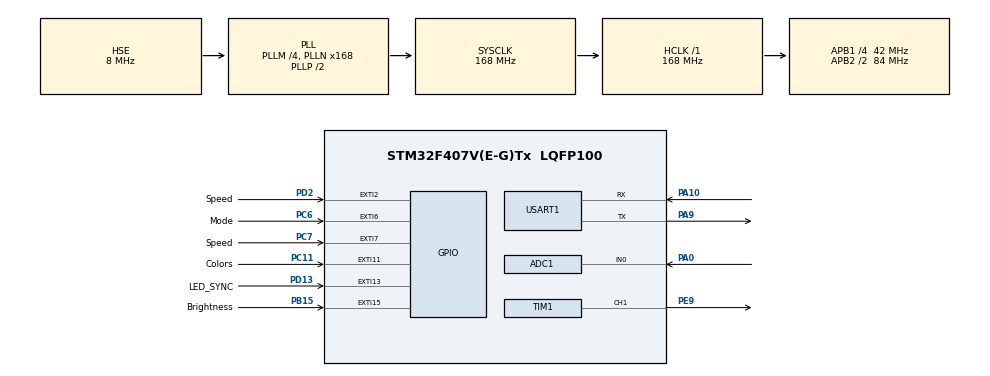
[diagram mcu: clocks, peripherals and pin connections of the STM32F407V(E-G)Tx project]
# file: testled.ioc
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ADC1.Channel-0\#ChannelRegularConversion=ADC_CHANNEL_0
ADC1.ClockPrescaler=ADC_CLOCK_SYNC_PCLK_DIV8
ADC1.ContinuousConvMode=ENABLE
ADC1.DMAContinuousRequests=ENABLE
ADC1.EOCSelection=ADC_EOC_SEQ_CONV
ADC1.InjNumberOfConversion=0
ADC1.NbrOfConversionFlag=1
ADC1.Rank-0\#ChannelRegularConversion=1
ADC1.SamplingTime-0\#ChannelRegularConversion=ADC_SAMPLETIME_480CYCLES
ADC1.master=1
Dma.ADC1.1.Direction=DMA_PERIPH_TO_MEMORY
Dma.ADC1.1.FIFOMode=DMA_FIFOMODE_DISABLE
Dma.ADC1.1.Instance=DMA2_Stream0
Dma.ADC1.1.MemDataAlignment=DMA_MDATAALIGN_HALFWORD
Dma.ADC1.1.MemInc=DMA_MINC_ENABLE
Dma.ADC1.1.Mode=DMA_CIRCULAR
Dma.ADC1.1.PeriphDataAlignment=DMA_PDATAALIGN_HALFWORD
Dma.ADC1.1.PeriphInc=DMA_PINC_DISABLE
Dma.ADC1.1.Priority=DMA_PRIORITY_LOW
Dma.Request0=TIM1_CH1
Dma.Request1=ADC1
Dma.TIM1_CH1.0.Direction=DMA_MEMORY_TO_PERIPH
Dma.TIM1_CH1.0.FIFOMode=DMA_FIFOMODE_DISABLE
Dma.TIM1_CH1.0.Instance=DMA2_Stream1
Dma.TIM1_CH1.0.MemDataAlignment=DMA_MDATAALIGN_HALFWORD
Dma.TIM1_CH1.0.MemInc=DMA_MINC_ENABLE
Dma.TIM1_CH1.0.Mode=DMA_NORMAL
Dma.TIM1_CH1.0.PeriphDataAlignment=DMA_PDATAALIGN_HALFWORD
Dma.TIM1_CH1.0.PeriphInc=DMA_PINC_DISABLE
Dma.TIM1_CH1.0.Priority=DMA_PRIORITY_LOW
Mcu.Family=STM32F4
Mcu.Name=STM32F407V(E-G)Tx
Mcu.Package=LQFP100
NVIC.ADC_IRQn=true\:2\:0\:true\:false\:true\:true\:true\:true
NVIC.DMA2_Stream0_IRQn=true\:2\:0\:true\:false\:true\:false\:true\:true
NVIC.DMA2_Stream1_IRQn=true\:2\:0\:true\:false\:true\:false\:true\:true
NVIC.EXTI15_10_IRQn=true\:0\:0\:true\:false\:true\:true\:true\:true
NVIC.EXTI2_IRQn=true\:0\:0\:false\:false\:true\:true\:true\:true
NVIC.EXTI9_5_IRQn=true\:0\:0\:true\:false\:true\:true\:true\:true
NVIC.PVD_IRQn=true\:0\:0\:false\:false\:true\:true\:true\:true
NVIC.PriorityGroup=NVIC_PRIORITYGROUP_4
PA0-WKUP.Signal=ADCx_IN0
PA10.Mode=Asynchronous
PA10.Signal=USART1_RX
PA9.Mode=Asynchronous
PA9.Signal=USART1_TX
PB15.GPIO_Label=Brightness
PB15.GPIO_ModeDefaultEXTI=GPIO_MODE_IT_RISING
PB15.GPIO_PuPd=GPIO_PULLDOWN
PB15.Signal=GPXTI15
PC11.GPIO_Label=Colors
PC11.GPIO_ModeDefaultEXTI=GPIO_MODE_IT_RISING
PC11.GPIO_PuPd=GPIO_PULLDOWN
PC11.Signal=GPXTI11
PC6.GPIO_Label=Mode
PC6.GPIO_ModeDefaultEXTI=GPIO_MODE_IT_RISING
PC6.GPIO_PuPd=GPIO_PULLDOWN
PC6.Signal=GPXTI6
PC7.GPIO_Label=Speed
PC7.GPIO_ModeDefaultEXTI=GPIO_MODE_IT_RISING
PC7.GPIO_PuPd=GPIO_PULLDOWN
PC7.Signal=GPXTI7
PD13.GPIO_Label=LED_SYNC
PD13.GPIO_ModeDefaultEXTI=GPIO_MODE_IT_RISING
PD13.GPIO_PuPd=GPIO_PULLDOWN
PD13.Signal=GPXTI13
PD2.GPIO_Label=Speed
PD2.GPIO_PuPd=GPIO_PULLDOWN
PD2.Signal=GPXTI2
PE9.Signal=S_TIM1_CH1
PH0-OSC_IN.Mode=HSE-External-Oscillator
PH0-OSC_IN.Signal=RCC_OSC_IN
PH1-OSC_OUT.Mode=HSE-External-Oscillator
PH1-OSC_OUT.Signal=RCC_OSC_OUT
ProjectManager.HeapSize=0x200
ProjectManager.StackSize=0x400
ProjectManager.TargetToolchain=STM32CubeIDE
RCC.48MHZClocksFreq_Value=84000000
RCC.AHBFreq_Value=168000000
RCC.APB1CLKDivider=RCC_HCLK_DIV4
RCC.APB1Freq_Value=42000000
RCC.APB1TimFreq_Value=84000000
RCC.APB2CLKDivider=RCC_HCLK_DIV2
RCC.APB2Freq_Value=84000000
RCC.APB2TimFreq_Value=168000000
RCC.CortexFreq_Value=168000000
RCC.HCLKFreq_Value=168000000
RCC.HSE_VALUE=8000000
RCC.HSI_VALUE=16000000
RCC.LSE_VALUE=32768
RCC.PLLM=4
RCC.PLLN=168
RCC.PLLSourceVirtual=RCC_PLLSOURCE_HSE
RCC.SYSCLKFreq_VALUE=168000000
RCC.SYSCLKSource=RCC_SYSCLKSOURCE_PLLCLK
RCC.VCOOutputFreq_Value=336000000
SH.ADCx_IN0.0=ADC1_IN0,IN0
SH.S_TIM1_CH1.0=TIM1_CH1,PWM Generation1 CH1
TIM1.AutoReloadPreload=TIM_AUTORELOAD_PRELOAD_DISABLE
TIM1.Channel-PWM\ Generation1\ CH1=TIM_CHANNEL_1
TIM1.Period=209
USART1.VirtualMode=VM_ASYNC
VP_TIM1_VS_ClockSourceINT.Mode=Internal
board=custom

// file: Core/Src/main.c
/* USER CODE BEGIN Header */
/**
  ******************************************************************************
  * @file           : main.c
  * @brief          : Main program body
  ******************************************************************************
  * @attention
  *
  * Copyright (c) 2025 STMicroelectronics.
  * All rights reserved.
  *
  * This software is licensed under terms that can be found in the LICENSE file
  * in the root directory of this software component.
  * If no LICENSE file comes with this software, it is provided AS-IS.
  *
  ******************************************************************************
  */
/* USER CODE END Header */
#include "main.h"

/* USER CODE BEGIN Includes */
#include <stdbool.h>
#include <stdio.h>
#include "string.h"
#include "math.h"
#include <stdlib.h>
#include <time.h>
/* USER CODE END Includes */

/* USER CODE BEGIN PTD */
typedef struct{
    double real;
    double imag;
} complex;
/* USER CODE END PTD */

/* USER CODE BEGIN PD */
const double PI  = 3.14159265358979323846;
#define MAX_LED 149
#define USE_BRIGHTNESS 1
#define MAX_BRIGHTNESS 40
#define MAX_SPEED 1000
#define ADC_BUFFER_SIZE 2048
#define LED_SYNC_MUSIC 0
#define MODE1 1
#define MODE2 2
#define MODE3 3
#define MODE4 4
#define MODE5 5
#define MODE6 6
#define MODE7 7
#define MODE8 8
#define MODE9 9
#define MODE10 10
#define MODE11 11
#define Point_A 0
#define Point_B 4
#define Point_C 19
#define Point_D 34
#define Point_E 54
#define Point_F 74
#define Point_G 75
#define Point_H 94
#define Point_I 114
#define Point_J 129
#define Point_K 144
#define Point_L 149
/* USER CODE END PD */

ADC_HandleTypeDef hadc1;
DMA_HandleTypeDef hdma_adc1;

TIM_HandleTypeDef htim1;
DMA_HandleTypeDef hdma_tim1_ch1;

UART_HandleTypeDef huart1;

/* USER CODE BEGIN PV */

uint8_t pushed_button = 0;

bool datasentflag = 0;
int low_index = 0;
int mid_index = 0;
int high_index = 0;
int low_count = 0;
int mid_count = 0;
int high_count = 0;

//default values
int current_mode = 1;
int brightness = MAX_BRIGHTNESS;
int speed = 0;
int current_color = 1;
int color_duration = 0;

uint16_t adc_val[ADC_BUFFER_SIZE]; // Cuong do am thanh
complex x[ADC_BUFFER_SIZE];			// Bien doi so phuc

int avg = 0;	// Cuong do am thanh trung binh
int effecet_count = 0;
char msg[100] = "Hello World";
uint32_t last_it = 0;	// Lan cuoi interrupt GPIO
uint16_t peak = 0;		// Cuong do am thanh cao nhat
uint8_t rst_red = 0;	// Mau reset do
uint8_t rst_green = 0;	// Mau reset xanh luc
uint8_t rst_blue = 0;	// Mau reset xanh duong
uint8_t color_ranges[MAX_LED+1][3]; //Quy dinh dai mau cho LED
uint8_t Rainbow_LED[MAX_LED+1][3]; // Quy dinh dai mau cau vong
uint8_t LED_RGB[MAX_LED+1][3];	// Quy dinh LED nao bat LED nao tat
uint8_t LED_Data[MAX_LED+1][3];	// Quy dinh do sang cho LED
uint16_t pwmData[(24*MAX_LED)+100]; //Du lieu truyen di
/* USER CODE END PV */

void SystemClock_Config(void);
static void MX_GPIO_Init(void);
static void MX_DMA_Init(void);
static void MX_TIM1_Init(void);
static void MX_ADC1_Init(void);
static void MX_USART1_UART_Init(void);
/* USER CODE BEGIN PFP */

void Set_Brightness(int brightness);

/* USER CODE END PFP */

/* USER CODE BEGIN 0 */
complex make_complex(double real, double imag) {
    complex c;
    c.real = real;
    c.imag = imag;
    return c;
}
complex add_complex(complex a, complex b) {
    return make_complex(a.real + b.real, a.imag + b.imag);
}
complex sub_complex(complex a, complex b) {
    return make_complex(a.real - b.real, a.imag - b.imag);
}
complex mul_complex(complex a, complex b) {
    return make_complex(
        a.real * b.real - a.imag * b.imag,
        a.real * b.imag + a.imag * b.real
    );
}
complex twiddle_factor(int k, int N) {
    double angle = -2.0 * M_PI * k / N;
    return make_complex(cos(angle), sin(angle));
}
void fft(complex* x,int  n){
    if(n <= 1) return;

    complex even[n/2];
    complex odd[n/2];
    for(int i = 0 ; i < n/2 ; i++){
        even[i] = x[i*2];
        odd[i] = x[i*2 + 1];
    }

    fft(even,n/2);
    fft(odd,n/2);

    for (int k = 0; k < n/2; k++) {
        complex w = twiddle_factor(k, n);
        complex t = mul_complex(w, odd[k]);
        x[k] = add_complex(even[k],t);
        x[k + n/2] = sub_complex(even[k], t);
    }
}
void inttocomplex(complex* x,int n){
    for(int i = 0 ; i < ADC_BUFFER_SIZE ; i++){
        x[i] = make_complex(adc_val[i], 0);
    }
}

void Set_Colors_Ranges(uint8_t r,uint8_t g,uint8_t b,int start, int end,bool rainbow){
	for(int  i = start ; i <= end ; i++){
		if(rainbow == 0){
			color_ranges[i][0] = r;
			color_ranges[i][1] = g;
			color_ranges[i][2] = b;
		}
		else{
			color_ranges[i][0] = Rainbow_LED[i][0];
			color_ranges[i][1] = Rainbow_LED[i][1];
			color_ranges[i][2] = Rainbow_LED[i][2];
		}
	}
}
void Set_Colors_Ranges_Gradient(uint8_t r_st,uint8_t g_st,uint8_t b_st,uint8_t r_en,uint8_t g_en,uint8_t b_en,int start, int end){
	int t;
	for(int i = start ; i <= end; i++){
		t = (r_en - r_st)*(i - start)/(end-start);
		color_ranges[i][0] = r_st + t;

		t = (g_en - g_st)*(i - start)/(end-start);
		color_ranges[i][1] = g_st + t;

		t = (b_en - b_st)*(i - start)/(end-start);
		color_ranges[i][2] = b_st + t;
	}
}
void Set_LED (int LEDnum)
{
	LED_RGB[LEDnum][0] = color_ranges[LEDnum][1];
	LED_RGB[LEDnum][1] = color_ranges[LEDnum][0];
	LED_RGB[LEDnum][2] = color_ranges[LEDnum][2];
}
void Set_All_LED(){
	for(int i = 0 ; i < MAX_LED ; i++){
		Set_LED(i);
	}
}

void SetLEDStartToEnd(int start, int end){
	if(end > MAX_LED) end = MAX_LED;
	if(start < 0) start = 0;
	for(int i = start ; i <= end ; i++){
		Set_LED(i);
	}
}
void SetLEDEndToStart(int start, int end){
	if(end > MAX_LED) end = MAX_LED-1;
	if(start < 0) start = 0;
	for(int i = start ; i >= end ; i--){
		Set_LED(i);
	}
}

void RESET_LED(int LEDnum){
	LED_RGB[LEDnum][0] = rst_green;
	LED_RGB[LEDnum][1] = rst_red;
	LED_RGB[LEDnum][2] = rst_blue;
}
void RESET_LED_START_TO_END(int start, int end){
	if(end > MAX_LED) end = MAX_LED;
	if(start < 0) start = 0;
	for(int i = start ; i <= end ; i++){
		RESET_LED(i);
	}
}
void RESET_LED_END_TO_START(int start, int end){
	if(end > MAX_LED) end = MAX_LED;
	if(start < 0) start = 0;
	for(int i = start ; i >= end ; i--){
		RESET_LED(i);
	}
}
void RESET_ALL_LED(){
	for(int i = 0 ; i <= MAX_LED ; i++){
		RESET_LED(i);
	}
}
void Init_Raibow_LED(){
	int r = 255;
	int g = 1;
	int b = 1;
	int gchange = 0;
	int inc = 0;
	for(int i = 0 ; i <= MAX_LED ; i++){
		if(g < 255 && gchange == 0){
			g = g + inc;
		}
		else if(r > 1){
			r = r - inc;
			gchange = 1;
		}
		else if(b < 255){
			b = b + inc;
		}
		else if(g>1 && gchange == 1){
			g = g - inc;
		}
		else{
			r = 255;
			g = 1;
			b = 1;
			inc = -4;
			gchange = 0;
		}
		Rainbow_LED[i][0] = r;
		Rainbow_LED[i][1] = g;
		Rainbow_LED[i][2] = b;
		inc += 4;
	}
}

void Set_Brightness(int brightness)  // 0-40
{
	if (brightness > MAX_BRIGHTNESS) brightness = MAX_BRIGHTNESS;
	for (int i=0; i<=MAX_LED; i++)
	{
		LED_Data[i][0] = LED_RGB[i][0];
		for (int j=0; j<3; j++)
		{
			LED_Data[i][j] = (LED_RGB[i][j]*brightness)/255;
		}
	}

}

void WS2812_Send (void)
{
	uint32_t indx=0;
	uint32_t color;
	for (int i = 0; i<=MAX_LED; i++)
	{
		color = ((LED_Data[i][0]<<16) | (LED_Data[i][1]<<8) | (LED_Data[i][2]));

		for (int bit=23; bit>=0; bit--)
		{
			if (color&(1<<bit))
			{
				pwmData[indx] = 140;  // 2/3 of 210
			}
			else pwmData[indx] = 70;  // 1/3 of 210

			indx++;
		}

	}

	for (int i = 0; i<50; i++)
	{
		pwmData[indx] = 0;
		indx++;
	}

	HAL_TIM_PWM_Start_DMA(&htim1, TIM_CHANNEL_1, (uint32_t *)pwmData, indx);
	while (!datasentflag){};
	datasentflag = 0;
}

void HAL_TIM_PWM_PulseFinishedCallback(TIM_HandleTypeDef *htim)
{
	HAL_TIM_PWM_Stop_DMA(&htim1, TIM_CHANNEL_1);
	datasentflag=1;
}

void Fade_in(int brightness, int delay){
	for (int i=0; i<=brightness; i++)
	{
		SetLEDStartToEnd(0, MAX_LED);
		Set_Brightness(i);
		WS2812_Send();
		HAL_Delay(delay);
	}
}
void Fade_out(int brightness, int delay){
	for (int i=0; i<=brightness; i++)
	{
		SetLEDStartToEnd(0, MAX_LED);
		Set_Brightness(brightness - i);
		WS2812_Send();
		HAL_Delay(delay);
	}
}
void colors1(){
	Set_Colors_Ranges_Gradient(0, 0, 255, 255, 0, 255, 0, MAX_LED);
}
void colors2(){
	Set_Colors_Ranges(255, 144, 0, 0, 34, 0);
	Set_Colors_Ranges(255, 0, 0, 35, 113, 0);
	Set_Colors_Ranges(0, 144, 255, 114, MAX_LED, 0);
}
void colors3(){
	Set_Colors_Ranges_Gradient(0, 0, 255, 255, 0, 0, 0,MAX_LED/2);
	Set_Colors_Ranges_Gradient(255, 0, 0, 255, 255, 0, MAX_LED/2+1,MAX_LED);
	Set_Colors_Ranges(0, 255, 0, 35, 113, 1);
}
void colors4(){
	Set_Colors_Ranges(0, 0, 0, 0, MAX_LED, 1);
}
void colors5(){
	Set_Colors_Ranges_Gradient(0, 255, 0, 0, 0, 255, 0, MAX_LED);
}
void mode1(int brightness,int duration){
	int delay = duration/brightness-7;
	Fade_out(brightness, delay);
	RESET_ALL_LED();
}
void mode2(int brightness,int duration){

	int delay = duration/10-6;
	for(int i = 0 ; i < 10 ; i ++){
		if(i%2 == 0){
			Set_All_LED();
		}
		else{
			RESET_ALL_LED();
		}
		Set_Brightness(brightness);
		WS2812_Send();
		HAL_Delay(delay);
	}
	Set_All_LED();
	Set_Brightness(brightness);
	WS2812_Send();
}
void mode3(int brightness,int duration){

	int delay = duration/41-6;
	for(int i = 0 ; i <= 40 ; i+=1){
		SetLEDStartToEnd(Point_G + i, (Point_G + i + 5 < Point_I) ? Point_G + i + 5 : Point_I);
		SetLEDStartToEnd(Point_I + i, (Point_I + i + 5 < Point_L) ? Point_I + i + 5 : Point_L);
		SetLEDStartToEnd((Point_F - i - 5 > Point_D) ? Point_F - i - 5 : Point_D, Point_F - i);
		SetLEDStartToEnd((Point_D - i - 5 > Point_A) ? Point_D - i - 5 : Point_A, Point_D - i);
		Set_Brightness(brightness);
		WS2812_Send();
		RESET_LED(Point_G + i);
		RESET_LED(Point_I + i);
		RESET_LED(Point_F - i);
		RESET_LED(Point_D - i);
		HAL_Delay(delay);
	}
	Set_Brightness(brightness);
	WS2812_Send();
	RESET_ALL_LED();

}
void mode4_effect1(int brightness,int duration){

	int delay = duration/brightness-7;
	SetLEDStartToEnd(Point_D, Point_I);
	for (int i=0; i<=brightness; i++)
	{
		SetLEDStartToEnd(Point_D, Point_I);
		Set_Brightness(brightness - i);
		WS2812_Send();
		HAL_Delay(delay);
	}
	RESET_ALL_LED();
}
void mode4_effect2(int brightness,int duration){
	int delay = duration/brightness-7;
	SetLEDStartToEnd(Point_C, Point_D);
	SetLEDStartToEnd(Point_I, Point_J);
	for (int i=0; i<=brightness; i++)
	{
		SetLEDStartToEnd(Point_C, Point_D);
		SetLEDStartToEnd(Point_I, Point_J);
		Set_Brightness(brightness - i);
		WS2812_Send();
		HAL_Delay(delay);
	}
	RESET_ALL_LED();
}
void mode4_effect3(int brightness,int duration){
	int delay = duration/brightness-7;
	SetLEDStartToEnd(Point_A, Point_C);
	SetLEDStartToEnd(Point_J, Point_L);
	for (int i=0; i<=brightness; i++)
	{
		SetLEDStartToEnd(Point_A, Point_C);
		SetLEDStartToEnd(Point_J, Point_L);
		Set_Brightness(brightness - i);
		WS2812_Send();
		HAL_Delay(delay);
	}
	RESET_ALL_LED();
}
void mode5_effect1(int brightness,int duration){
	int delay = duration/11 - 6;
	for(int i = 0 ; i <= 10 ; i++){
		Set_LED(64+i);
		Set_LED(84-i);
		Set_LED(Point_D+i);
		Set_LED(Point_I-i);
		Set_Brightness(brightness);
		WS2812_Send();
		HAL_Delay(delay);
	}
	RESET_ALL_LED();
}
void mode5_effect2(int brightness,int duration){

	int delay = duration/21 - 6;
	for(int i = 0 ; i <= 20 ; i++){
		Set_LED(45+i);
		Set_LED(105-i);
		Set_Brightness(brightness);
		WS2812_Send();
		HAL_Delay(delay);
	}
	RESET_ALL_LED();
}
void mode5_effect3(int brightness,int duration){
	int delay = duration/36 - 5;
	for(int i = 0 ; i <= 35 ; i++){
		Set_LED(Point_A+i);
		Set_LED(Point_L-i);
		Set_Brightness(brightness);
		WS2812_Send();
		HAL_Delay(delay);
	}
	RESET_ALL_LED();
}
void mode6(int brightness,int duration){

	int delay = duration/76-6;
	for(int i = 0 ; i <= 74 ; i++){
		if(i%2==0){
			Set_LED(i);
			Set_LED(Point_L - i);
			Set_Brightness(brightness);
			WS2812_Send();
			HAL_Delay(delay);
		}

	}
	for(int i = 74 ; i >=0 ; i--){
		if(i%2==1){
			Set_LED(i);
			Set_LED(Point_L - i);
			WS2812_Send();
			Set_Brightness(brightness);
			HAL_Delay(delay);
		}

	}
	RESET_ALL_LED();
}
void mode7_effect1(int brightness,int duration){

	int delay = duration/21 - 5;
	for(int i = 0 ; i<=20 ;i++){
		Set_LED(Point_D+i);
		Set_LED(Point_E+i);
		Set_LED(Point_I-i);
		Set_LED(Point_H-i);
		if(i%4 <= 1){
			SetLEDStartToEnd(Point_A, Point_D);
			SetLEDStartToEnd(Point_I, Point_L);
		}
		else{
			RESET_LED_START_TO_END(Point_A, Point_D);
			RESET_LED_START_TO_END(Point_I, Point_L);
		}
		Set_Brightness(brightness);
		WS2812_Send();
		HAL_Delay(delay);
	}
	RESET_ALL_LED();
}
void mode7_effect2(int brightness,int duration){
	Set_All_LED();
	int delay = duration/21 - 5;
	for(int i = 20 ; i>=0 ;i--){
		RESET_LED(Point_D+i);
		RESET_LED(Point_E+i);
		RESET_LED(Point_I-i);
		RESET_LED(Point_H-i);
		if(i%4 <= 1){
			SetLEDStartToEnd(Point_A, Point_D);
			SetLEDStartToEnd(Point_I, Point_L);
		}
		else{
			RESET_LED_START_TO_END(Point_A, Point_D);
			RESET_LED_START_TO_END(Point_I, Point_L);
		}
		Set_Brightness(brightness);
		WS2812_Send();
		HAL_Delay(delay);
	}
	RESET_ALL_LED();
}

void mode8_effect1(int brightness,int duration){

	int delay = duration/26 - 6;
	SetLEDStartToEnd(Point_D-10, Point_D+10);
	SetLEDStartToEnd(Point_I-10, Point_I+10);
	for(int i = 0 ; i <= 25 ; i++){
		Set_LED(Point_D+10+i);
		Set_LED(Point_I-10-i);
		Set_LED(Point_D-10-i);
		Set_LED(Point_I+10+i);
		Set_Brightness(brightness);
		WS2812_Send();
		HAL_Delay(delay);
	}
	WS2812_Send();
	RESET_ALL_LED();
}
void mode8_effect2(int brightness,int duration){
	Set_All_LED();
	RESET_LED_START_TO_END(69, 79);
	int delay = duration/26-6;
	SetLEDStartToEnd(Point_D-10, Point_D+10);
	SetLEDStartToEnd(Point_I-10, Point_I+10);
	for(int i = 25 ; i >=0 ; i--){
		RESET_LED(Point_D+10+i);
		RESET_LED(Point_I-10-i);
		RESET_LED(Point_D-10-i);
		RESET_LED(Point_I+10+i);
		Set_Brightness(brightness);
		WS2812_Send();
		HAL_Delay(delay);
	}
	WS2812_Send();
	RESET_ALL_LED();
}
void mode9_effect1(int brightness,int duration){
	int delay = duration/brightness - 7;
	SetLEDStartToEnd(Point_D, Point_F);
	SetLEDStartToEnd(Point_A, Point_C);
	WS2812_Send();
	for (int i=0; i<=brightness; i++)
	{
		SetLEDStartToEnd(Point_D, Point_F);
		SetLEDStartToEnd(Point_A, Point_C);
		Set_Brightness(brightness - i);
		WS2812_Send();
		HAL_Delay(delay);
	}
	RESET_ALL_LED();

}
void mode9_effect2(int brightness,int duration){
	int delay = duration/brightness - 6;
	SetLEDStartToEnd(Point_C, Point_E);
	SetLEDStartToEnd(Point_H, Point_J);
	WS2812_Send();
	for (int i=0; i<=brightness; i++)
	{
		SetLEDStartToEnd(Point_C, Point_E);
		SetLEDStartToEnd(Point_H, Point_J);
		Set_Brightness(brightness - i);
		WS2812_Send();
		HAL_Delay(delay);
	}
	RESET_ALL_LED();

}
void mode9_effect3(int brightness,int duration){

	int delay = duration/brightness - 7;
	SetLEDStartToEnd(Point_G, Point_I);
	SetLEDStartToEnd(Point_J, Point_L);
	WS2812_Send();
	for (int i=0; i<=brightness; i++)
	{
		SetLEDStartToEnd(Point_G, Point_I);
		SetLEDStartToEnd(Point_J, Point_L);
		Set_Brightness(brightness - i);
		WS2812_Send();
		HAL_Delay(delay);
	}
	RESET_ALL_LED();
}
void mode10(int brightness,int duration){
	int delay = duration/31 - 6;
	SetLEDStartToEnd(Point_D-10, Point_D+10);
	SetLEDStartToEnd(Point_I-10, Point_I+10);
	for(int i = 0 ; i <= 30 ; i++){
		SetLEDStartToEnd(Point_D+10 + i, (Point_D+10 + i + 5 < Point_F) ? Point_D+10 + i + 5 : Point_F);
		SetLEDStartToEnd((Point_I-10 - i - 5 > Point_G) ? Point_I-10 - i - 5 : Point_G, Point_I-10 - i);
		SetLEDStartToEnd((Point_D-10 - i - 5 > Point_A) ? Point_D-10 - i - 5 : Point_A, Point_D-10 - i);
		SetLEDStartToEnd(Point_I+10 + i, (Point_I+10 + i + 5 < Point_L) ? Point_I+10 + i + 5 : Point_L);
		Set_Brightness(brightness);
		WS2812_Send();
		RESET_LED(Point_D+10 + i);
		RESET_LED(Point_I-10 - i);
		RESET_LED(Point_D-10 - i);
		RESET_LED(Point_I+10 + i);
		HAL_Delay(delay);
	}
	Set_Brightness(brightness);
	WS2812_Send();
	RESET_ALL_LED();

}
void mode11(int brightness,int duration){
	Set_All_LED();
	int delay = duration/MAX_LED;
	for(int i = MAX_LED ; i>=0 ;i--){
		uint8_t tmpg = LED_RGB[MAX_LED][0];
		uint8_t tmpr = LED_RGB[MAX_LED][1];
		uint8_t tmpb = LED_RGB[MAX_LED][2];
		for(int j = MAX_LED ; j>=1 ; j--){
			LED_RGB[j][0] = LED_RGB[j-1][0];
			LED_RGB[j][1] = LED_RGB[j-1][1];
			LED_RGB[j][2] = LED_RGB[j-1][2];
		}
		LED_RGB[0][0] = tmpg;
		LED_RGB[0][1] = tmpr;
		LED_RGB[0][2] = tmpb;
		Set_Brightness(brightness);
		WS2812_Send();
		HAL_Delay(delay);
	}
}
void FreqAnalyze(){

	uint32_t time = HAL_GetTick();
//    sprintf(msg,"\ntime: %ld\n",time);
//    HAL_UART_Transmit(&huart1, (uint8_t*) msg, strlen(msg), 1);
	low_index = 0;
	mid_index = 0;
	high_index = 0;
	inttocomplex(&x, ADC_BUFFER_SIZE);
	fft(&x,ADC_BUFFER_SIZE);
	int maxfreq = 0;
	int schifreq = 0;
    for(int i = 1 ;i < ADC_BUFFER_SIZE/2 ; i++){
        int mag = 2*sqrt(pow(x[i].real,2) + pow(x[i].imag,2));
        if(mag > 300000){
        	schifreq = maxfreq;
        	int freq = i*1000/96;
        	if(freq < 1200){
        		low_index++;
        	}
        	else if(freq < 2400){
        		mid_index++;
        	}
        	else{
        		high_index++;
        	}
        	maxfreq = freq;
	        sprintf(msg,"%d ",freq);
	        HAL_UART_Transmit(&huart1, (uint8_t*) msg, strlen(msg), 1);
        }
    }
    uint32_t fftduration = HAL_GetTick() - time;
	if(low_index <= 3 && mid_index == 0 && high_index == 0){
        sprintf(msg,"\nvery low\n");
        HAL_UART_Transmit(&huart1, (uint8_t*) msg, strlen(msg), 1);
		mode3(brightness, 1000 - fftduration);

	}
	else if(low_index > mid_index && low_index > high_index){
        sprintf(msg,"\nlow\n");
        HAL_UART_Transmit(&huart1, (uint8_t*) msg, strlen(msg), 1);
		switch(low_count){
		case 0:
			mode6(brightness, 1000 - fftduration);
			break;
		case 1:
		case 2:
		case 3:
			mode1(brightness, 1000 - fftduration);
			break;

		}
		low_count = (low_count+1)%4;

	}
	else if((high_index > low_index && high_index > mid_index) || schifreq > 3200){
        sprintf(msg,"\nhigh\n");
        HAL_UART_Transmit(&huart1, (uint8_t*) msg, strlen(msg), 1);
		switch(high_count){
		case 0:
			mode2(brightness, (2000 - fftduration)/2);
			mode2(brightness, (2000 - fftduration)/2);
			break;
		case 1:
			mode8_effect2(brightness, (1000 - fftduration)/2);
			mode8_effect1(brightness, (1000 - fftduration)/2);
			break;
		case 2:
			mode7_effect1(brightness, (2000 - fftduration)/2);
			mode7_effect2(brightness, (2000 - fftduration)/2);
			break;

		}
		high_count = (high_count+1)%3;
	}
	else{
        sprintf(msg,"\nmid\n");
        HAL_UART_Transmit(&huart1, (uint8_t*) msg, strlen(msg), 1);
		switch(mid_count){

		case 0:
			mode8_effect1(brightness, (1000 - fftduration)/2);
			mode8_effect2(brightness, (1000 - fftduration)/2);
			break;
		case 1:
		case 2:
		case 3:
		case 4:
			mode10(brightness, 1000 - fftduration);
			break;
		case 5:
			mode9_effect1(brightness, 1000 - fftduration);
			break;
		case 6:
			mode9_effect2(brightness, 1000 - fftduration);
			break;
		case 7:
			mode9_effect3(brightness, 1000 - fftduration);
			break;
		case 8:
			mode4_effect1(brightness, 1000 - fftduration);
			break;
		case 9:
			mode4_effect2(brightness, 1000 - fftduration);
			break;
		case 10:
			mode4_effect3(brightness, 1000 - fftduration);
			break;
		}
		mid_count = (mid_count+1)%11;
	}

}

void HAL_ADC_ConvCpltCallback(ADC_HandleTypeDef *hadc){
	HAL_ADC_Stop_DMA(&hadc1);
	if(hadc->Instance == hadc1.Instance){
		if(color_duration > 0){
			color_duration--;
		}
		else{
			uint32_t time = HAL_GetTick();
			rst_red = 0;
			rst_green = 0;
			rst_blue = 0;
			int offset = 1800;
			int sum = 0;
			avg = 0;
			peak = 0;
			for(int i = 0 ; i < ADC_BUFFER_SIZE ; i++){
				if(adc_val[i] < offset) continue;
				sum = sum + adc_val[i] - offset;
				if(adc_val[i] - offset > peak) peak = adc_val[i] - offset;
			}
			avg = sum/ADC_BUFFER_SIZE;
		    sprintf(msg,"time: %ld, avg: %d\n",time,avg);
		    HAL_UART_Transmit(&huart1, (uint8_t*) msg, strlen(msg), 100);
			if(avg > 450){
				if(avg%2==1){
					rst_red = 204;
					rst_green = 213;
					rst_blue = 222;
				}
				else{
					rst_red = 0;
					rst_green = 255;
					rst_blue = 232;
				}

				RESET_ALL_LED();
			}
			if(avg > 300){
				colors3();
			}
			else if(avg > 150){
				colors2();
			}
			else if(avg > 100){
				colors5();
			}
			else{
				colors1();
			}
			color_duration = 20;
		}

	}
	HAL_ADC_Start_DMA(&hadc1,(uint32_t*) adc_val, ADC_BUFFER_SIZE);
}
void HAL_GPIO_EXTI_Callback(uint16_t GPIO_Pin){
	if(HAL_GetTick() - last_it < 15) return;
	last_it = HAL_GetTick();
	switch(GPIO_Pin){
	case Mode_Pin:
		HAL_ADC_Stop_DMA(&hadc1);
		current_mode++;
		current_mode = (current_mode > 11) ? 1 : current_mode;
		break;
	case Brightness_Pin:
		brightness += 5;
		brightness = (brightness > 40) ? 5 : brightness;
		break;
	case Speed_Pin:
		speed+=500;
		speed = (speed > MAX_SPEED) ? -1000 : speed;
		break;
	case Colors_Pin:
		current_color++;
		current_color = (current_color > 5) ? 1 : current_color;
		  switch(current_color){
		  case 1:
			  colors1();
			  break;
		  case 2:
			  colors2();
			  break;
		  case 3:
			  colors3();
			  break;
		  case 4:
			  colors4();
			  break;
		  case 5:
			  colors5();
			  break;
		  }
		break;
	case LED_SYNC_Pin:
		current_mode = 0;
		HAL_ADC_Start_DMA(&hadc1,(uint32_t*) adc_val, ADC_BUFFER_SIZE);
		break;
	}
}
/* USER CODE END 0 */

int main(void)
{

  /* MCU Configuration--------------------------------------------------------*/

  /* Reset of all peripherals, Initializes the Flash interface and the Systick. */
  HAL_Init();

  /* Configure the system clock */
  SystemClock_Config();

  /* Initialize all configured peripherals */
  MX_GPIO_Init();
  MX_DMA_Init();
  MX_TIM1_Init();
  MX_ADC1_Init();
  MX_USART1_UART_Init();
  /* USER CODE BEGIN 2 */
  RESET_ALL_LED();
//  HAL_ADC_Start_DMA(&hadc1,(uint32_t*) adc_val, ADC_BUFFER_SIZE);
  /* USER CODE END 2 */

  /* Infinite loop */
  /* USER CODE BEGIN WHILE */
  Init_Raibow_LED();
  Set_Colors_Ranges_Gradient(0, 0, 255, 255, 0, 255, 0, MAX_LED/2);
  Set_Colors_Ranges_Gradient(255, 0, 255, 0, 0, 255, MAX_LED/2+1, MAX_LED);
  while (1)
  {

	  FreqAnalyze();

    /* USER CODE END WHILE */

  }
}

void SystemClock_Config(void)
{
  RCC_OscInitTypeDef RCC_OscInitStruct = {0};
  RCC_ClkInitTypeDef RCC_ClkInitStruct = {0};

  /** Configure the main internal regulator output voltage
  */
  __HAL_RCC_PWR_CLK_ENABLE();
  __HAL_PWR_VOLTAGESCALING_CONFIG(PWR_REGULATOR_VOLTAGE_SCALE1);

  /** Initializes the RCC Oscillators according to the specified parameters
  * in the RCC_OscInitTypeDef structure.
  */
  RCC_OscInitStruct.OscillatorType = RCC_OSCILLATORTYPE_HSE;
  RCC_OscInitStruct.HSEState = RCC_HSE_ON;
  RCC_OscInitStruct.PLL.PLLState = RCC_PLL_ON;
  RCC_OscInitStruct.PLL.PLLSource = RCC_PLLSOURCE_HSE;
  RCC_OscInitStruct.PLL.PLLM = 4;
  RCC_OscInitStruct.PLL.PLLN = 168;
  RCC_OscInitStruct.PLL.PLLP = RCC_PLLP_DIV2;
  RCC_OscInitStruct.PLL.PLLQ = 4;
  if (HAL_RCC_OscConfig(&RCC_OscInitStruct) != HAL_OK)
  {
    Error_Handler();
  }

  /** Initializes the CPU, AHB and APB buses clocks
  */
  RCC_ClkInitStruct.ClockType = RCC_CLOCKTYPE_HCLK|RCC_CLOCKTYPE_SYSCLK
                              |RCC_CLOCKTYPE_PCLK1|RCC_CLOCKTYPE_PCLK2;
  RCC_ClkInitStruct.SYSCLKSource = RCC_SYSCLKSOURCE_PLLCLK;
  RCC_ClkInitStruct.AHBCLKDivider = RCC_SYSCLK_DIV1;
  RCC_ClkInitStruct.APB1CLKDivider = RCC_HCLK_DIV4;
  RCC_ClkInitStruct.APB2CLKDivider = RCC_HCLK_DIV2;

  if (HAL_RCC_ClockConfig(&RCC_ClkInitStruct, FLASH_LATENCY_5) != HAL_OK)
  {
    Error_Handler();
  }
}

static void MX_ADC1_Init(void)
{

  ADC_ChannelConfTypeDef sConfig = {0};

  /** Configure the global features of the ADC (Clock, Resolution, Data Alignment and number of conversion)
  */
  hadc1.Instance = ADC1;
  hadc1.Init.ClockPrescaler = ADC_CLOCK_SYNC_PCLK_DIV8;
  hadc1.Init.Resolution = ADC_RESOLUTION_12B;
  hadc1.Init.ScanConvMode = DISABLE;
  hadc1.Init.ContinuousConvMode = ENABLE;
  hadc1.Init.DiscontinuousConvMode = DISABLE;
  hadc1.Init.ExternalTrigConvEdge = ADC_EXTERNALTRIGCONVEDGE_NONE;
  hadc1.Init.ExternalTrigConv = ADC_SOFTWARE_START;
  hadc1.Init.DataAlign = ADC_DATAALIGN_RIGHT;
  hadc1.Init.NbrOfConversion = 1;
  hadc1.Init.DMAContinuousRequests = ENABLE;
  hadc1.Init.EOCSelection = ADC_EOC_SEQ_CONV;
  if (HAL_ADC_Init(&hadc1) != HAL_OK)
  {
    Error_Handler();
  }

  /** Configure for the selected ADC regular channel its corresponding rank in the sequencer and its sample time.
  */
  sConfig.Channel = ADC_CHANNEL_0;
  sConfig.Rank = 1;
  sConfig.SamplingTime = ADC_SAMPLETIME_480CYCLES;
  if (HAL_ADC_ConfigChannel(&hadc1, &sConfig) != HAL_OK)
  {
    Error_Handler();
  }

}

static void MX_TIM1_Init(void)
{

  TIM_ClockConfigTypeDef sClockSourceConfig = {0};
  TIM_MasterConfigTypeDef sMasterConfig = {0};
  TIM_OC_InitTypeDef sConfigOC = {0};
  TIM_BreakDeadTimeConfigTypeDef sBreakDeadTimeConfig = {0};

  htim1.Instance = TIM1;
  htim1.Init.Prescaler = 0;
  htim1.Init.CounterMode = TIM_COUNTERMODE_UP;
  htim1.Init.Period = 209;
  htim1.Init.ClockDivision = TIM_CLOCKDIVISION_DIV1;
  htim1.Init.RepetitionCounter = 0;
  htim1.Init.AutoReloadPreload = TIM_AUTORELOAD_PRELOAD_DISABLE;
  if (HAL_TIM_Base_Init(&htim1) != HAL_OK)
  {
    Error_Handler();
  }
  sClockSourceConfig.ClockSource = TIM_CLOCKSOURCE_INTERNAL;
  if (HAL_TIM_ConfigClockSource(&htim1, &sClockSourceConfig) != HAL_OK)
  {
    Error_Handler();
  }
  if (HAL_TIM_PWM_Init(&htim1) != HAL_OK)
  {
    Error_Handler();
  }
  sMasterConfig.MasterOutputTrigger = TIM_TRGO_RESET;
  sMasterConfig.MasterSlaveMode = TIM_MASTERSLAVEMODE_DISABLE;
  if (HAL_TIMEx_MasterConfigSynchronization(&htim1, &sMasterConfig) != HAL_OK)
  {
    Error_Handler();
  }
  sConfigOC.OCMode = TIM_OCMODE_PWM1;
  sConfigOC.Pulse = 0;
  sConfigOC.OCPolarity = TIM_OCPOLARITY_HIGH;
  sConfigOC.OCNPolarity = TIM_OCNPOLARITY_HIGH;
  sConfigOC.OCFastMode = TIM_OCFAST_DISABLE;
  sConfigOC.OCIdleState = TIM_OCIDLESTATE_RESET;
  sConfigOC.OCNIdleState = TIM_OCNIDLESTATE_RESET;
  if (HAL_TIM_PWM_ConfigChannel(&htim1, &sConfigOC, TIM_CHANNEL_1) != HAL_OK)
  {
    Error_Handler();
  }
  sBreakDeadTimeConfig.OffStateRunMode = TIM_OSSR_DISABLE;
  sBreakDeadTimeConfig.OffStateIDLEMode = TIM_OSSI_DISABLE;
  sBreakDeadTimeConfig.LockLevel = TIM_LOCKLEVEL_OFF;
  sBreakDeadTimeConfig.DeadTime = 0;
  sBreakDeadTimeConfig.BreakState = TIM_BREAK_DISABLE;
  sBreakDeadTimeConfig.BreakPolarity = TIM_BREAKPOLARITY_HIGH;
  sBreakDeadTimeConfig.AutomaticOutput = TIM_AUTOMATICOUTPUT_DISABLE;
  if (HAL_TIMEx_ConfigBreakDeadTime(&htim1, &sBreakDeadTimeConfig) != HAL_OK)
  {
    Error_Handler();
  }
  HAL_TIM_MspPostInit(&htim1);

}

static void MX_USART1_UART_Init(void)
{

  huart1.Instance = USART1;
  huart1.Init.BaudRate = 115200;
  huart1.Init.WordLength = UART_WORDLENGTH_8B;
  huart1.Init.StopBits = UART_STOPBITS_1;
  huart1.Init.Parity = UART_PARITY_NONE;
  huart1.Init.Mode = UART_MODE_TX_RX;
  huart1.Init.HwFlowCtl = UART_HWCONTROL_NONE;
  huart1.Init.OverSampling = UART_OVERSAMPLING_16;
  if (HAL_UART_Init(&huart1) != HAL_OK)
  {
    Error_Handler();
  }

}

static void MX_DMA_Init(void)
{

  /* DMA controller clock enable */
  __HAL_RCC_DMA2_CLK_ENABLE();

  /* DMA interrupt init */
  /* DMA2_Stream0_IRQn interrupt configuration */
  HAL_NVIC_SetPriority(DMA2_Stream0_IRQn, 2, 0);
  HAL_NVIC_EnableIRQ(DMA2_Stream0_IRQn);
  /* DMA2_Stream1_IRQn interrupt configuration */
  HAL_NVIC_SetPriority(DMA2_Stream1_IRQn, 2, 0);
  HAL_NVIC_EnableIRQ(DMA2_Stream1_IRQn);

}

static void MX_GPIO_Init(void)
{
  GPIO_InitTypeDef GPIO_InitStruct = {0};

  /* GPIO Ports Clock Enable */
  __HAL_RCC_GPIOH_CLK_ENABLE();
  __HAL_RCC_GPIOA_CLK_ENABLE();
  __HAL_RCC_GPIOE_CLK_ENABLE();
  __HAL_RCC_GPIOB_CLK_ENABLE();
  __HAL_RCC_GPIOD_CLK_ENABLE();
  __HAL_RCC_GPIOC_CLK_ENABLE();

  /*Configure GPIO pin : Brightness_Pin */
  GPIO_InitStruct.Pin = Brightness_Pin;
  GPIO_InitStruct.Mode = GPIO_MODE_IT_RISING;
  GPIO_InitStruct.Pull = GPIO_PULLDOWN;
  HAL_GPIO_Init(Brightness_GPIO_Port, &GPIO_InitStruct);

  /*Configure GPIO pins : LED_SYNC_Pin SpeedD2_Pin */
  GPIO_InitStruct.Pin = LED_SYNC_Pin|SpeedD2_Pin;
  GPIO_InitStruct.Mode = GPIO_MODE_IT_RISING;
  GPIO_InitStruct.Pull = GPIO_PULLDOWN;
  HAL_GPIO_Init(GPIOD, &GPIO_InitStruct);

  /*Configure GPIO pins : Mode_Pin Speed_Pin Colors_Pin */
  GPIO_InitStruct.Pin = Mode_Pin|Speed_Pin|Colors_Pin;
  GPIO_InitStruct.Mode = GPIO_MODE_IT_RISING;
  GPIO_InitStruct.Pull = GPIO_PULLDOWN;
  HAL_GPIO_Init(GPIOC, &GPIO_InitStruct);

  /* EXTI interrupt init*/
  HAL_NVIC_SetPriority(EXTI2_IRQn, 0, 0);
  HAL_NVIC_EnableIRQ(EXTI2_IRQn);

  HAL_NVIC_SetPriority(EXTI9_5_IRQn, 0, 0);
  HAL_NVIC_EnableIRQ(EXTI9_5_IRQn);

  HAL_NVIC_SetPriority(EXTI15_10_IRQn, 0, 0);
  HAL_NVIC_EnableIRQ(EXTI15_10_IRQn);

}

void Error_Handler(void)
{
  __disable_irq();
  while (1)
  {
  }
}
